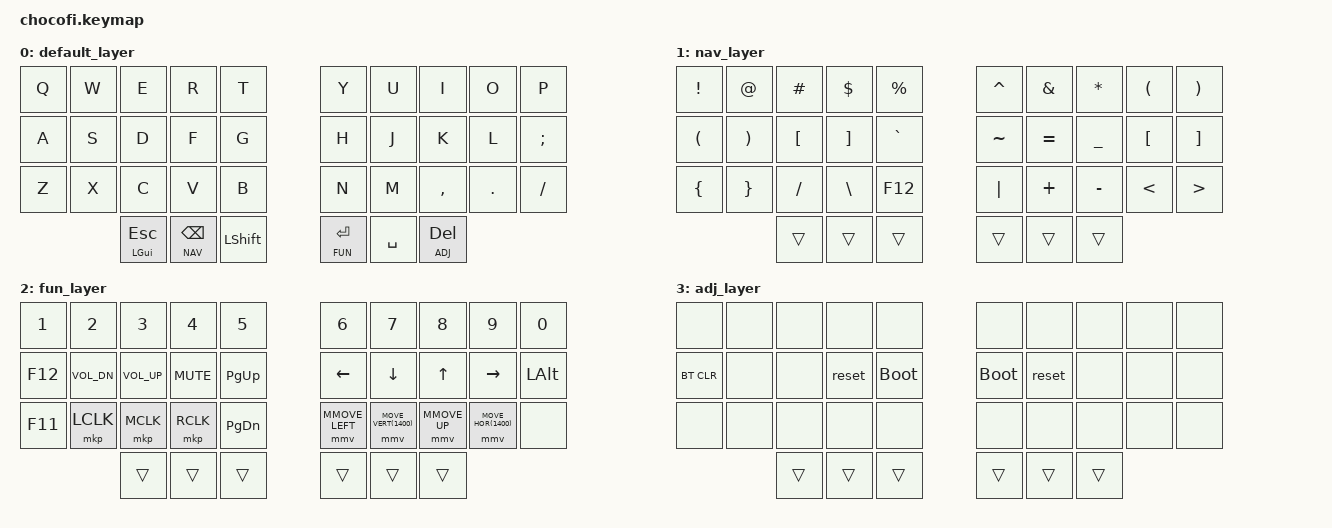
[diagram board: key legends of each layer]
/*
 * Copyright (c) 2020 The ZMK Contributors
 *
 * SPDX-License-Identifier: MIT
 */


/**

Keymap ideas for later

https://www.reddit.com/r/ErgoMechKeyboards/comments/r7y42o/keymap_tinkering/
https://github.com/callum-oakley/qmk_firmware/tree/master/users/callum#oneshot-modifiers
https://www.reddit.com/r/ErgoMechKeyboards/comments/r7y42o/keymap_tinkering/hn4fo5r/
https://github.com/kagoromo/zmk-config/blob/master/config/west.yml
https://zmk.dev/blog/2022/04/10/zmk-sotf-5
https://github.com/MrMarble/zmk-viewer

Compose key or something like that for common unicode symbols that I use?

**/

#include <behaviors.dtsi>
#include <dt-bindings/zmk/keys.h>
#include <dt-bindings/zmk/bt.h>
#include <dt-bindings/zmk/outputs.h>
#include <dt-bindings/zmk/mouse.h>

#define BASE 0
#define NAV 1
#define FUN 2
#define ADJ 3

#define MMOVE_UP MOVE_VERT(-1400)
#define MMOVE_DOWN MOVE_VERT(1400)
#define MMOVE_LEFT MOVE_HOR(-1400)
#define MMOVE_RIGHT MOVE_HOR(1400)

#define COMBO(name, keypos, keypress) \
    combo_##name {                    \
        timeout-ms = <40>;            \
        bindings = <keypress>;        \
        key-positions = <keypos>;     \
        slow-release;                 \
    };

#define TAP_TERM_MS 125

&mt {
    tapping-term-ms = <TAP_TERM_MS>;
    quick-tap-ms = <200>;
};

&lt {
    tapping-term-ms = <TAP_TERM_MS>;
    quick-tap-ms = <200>;
};

&kscan0 {
  debounce-press-ms = <4>;
  debounce-release-ms = <6>;
};


/ {
        combos {
          compatible = "zmk,combos";
          COMBO(tab, 3 4, &kp TAB)
          COMBO(sqt, 7 8, &kp SQT)
          COMBO(colon, 16 17, &kp COLON)
          COMBO(sqt, 17 18, &kp SQT)
          COMBO(caps, 23 26, &caps_word)
          COMBO(semi, 26 27, &kp SEMI)
          COMBO(lADJ, 31 32, &mo ADJ)

          COMBO(hrZ, 10 20, &kp LALT)
          COMBO(hrX, 11 21, &kp LGUI)
          COMBO(hrC, 12 22, &kp LCTRL)
          COMBO(hrV, 13 23, &kp LSHFT)
          COMBO(hrB, 14 24, &kp LALT)
          COMBO(hrN, 15 25, &kp LALT)
          COMBO(hrM, 16 26, &kp RSHFT)
          COMBO(hrK, 17 27, &kp RCTRL)
          COMBO(hrL, 18 28, &kp RGUI)
          COMBO(hrP, 19 29, &kp LALT)

       };


        keymap {
                compatible = "zmk,keymap";

                default_layer {
                        bindings = <
   &kp Q       &kp W       &kp E          &kp R          &kp T             &kp Y        &kp U      &kp I            &kp O          &kp P
   &kp A       &kp S       &kp D          &kp F          &kp G             &kp H        &kp J      &kp K            &kp L          &kp SEMI
   &kp Z       &kp X       &kp C          &kp V          &kp B             &kp N        &kp M      &kp COMMA        &kp DOT        &kp FSLH
                           &mt LGUI ESC   &lt NAV BSPC   &kp LSHFT         &lt FUN RET  &kp SPACE  &lt ADJ DEL
                        >;
                };

                nav_layer {
                        bindings = <
   &kp EXCL  &kp AT        &kp HASH       &kp DLLR       &kp PRCNT         &kp CARET    &kp AMPS      &kp STAR         &kp LPAR       &kp RPAR
   &kp LPAR  &kp RPAR      &kp LBKT       &kp RBKT       &kp GRAVE         &kp TILDE    &kp EQUAL     &kp UNDER        &kp LBKT       &kp RBKT
   &kp LBRC  &kp RBRC      &kp FSLH       &kp BSLH       &kp F12           &kp PIPE     &kp PLUS      &kp MINUS        &kp LT         &kp GT
                           &trans         &trans         &trans            &trans       &trans        &trans
                        >;
                };

                fun_layer {
                        bindings = <
   &kp N1      &kp N2       &kp N3         &kp N4        &kp N5            &kp N6          &kp N7          &kp N8           &kp N9           &kp N0
   &kp F12     &kp C_VOL_DN &kp C_VOL_UP   &kp C_MUTE    &kp PG_UP         &kp LEFT        &kp DOWN        &kp UP           &kp RIGHT        &kp LALT
   &kp F11     &mkp LCLK    &mkp MCLK      &mkp RCLK     &kp PG_DN         &mmv MMOVE_LEFT &mmv MMOVE_DOWN &mmv MMOVE_UP    &mmv MMOVE_RIGHT &none
                            &trans         &trans        &trans            &trans          &trans          &trans
                        >;
                };

                adj_layer {
                        bindings = <
   &none         &none         &none         &none        &none            &none        &none   &none   &none   &none
   &bt BT_CLR    &none         &none         &reset       &bootloader      &bootloader  &reset  &none   &none   &none
   &none         &none         &none         &none        &none            &none        &none   &none   &none   &none
                               &trans        &trans       &trans           &trans       &trans  &trans
                        >;
                };
        };
};
